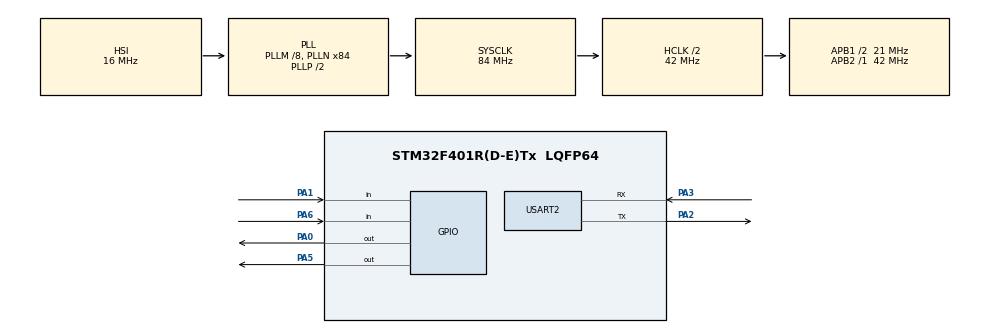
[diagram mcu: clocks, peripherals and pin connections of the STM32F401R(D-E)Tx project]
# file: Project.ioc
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Mcu.Family=STM32F4
Mcu.Name=STM32F401R(D-E)Tx
Mcu.Package=LQFP64
NVIC.PriorityGroup=NVIC_PRIORITYGROUP_4
NVIC.TIM3_IRQn=true\:0\:0\:false\:false\:true\:true\:true\:true
NVIC.USART2_IRQn=true\:0\:0\:false\:false\:true\:true\:true\:true
PA0-WKUP.Signal=GPIO_Output
PA1.Signal=GPIO_Input
PA2.Mode=Asynchronous
PA2.Signal=USART2_TX
PA3.Mode=Asynchronous
PA3.Signal=USART2_RX
PA5.Signal=GPIO_Output
PA6.Signal=GPIO_Input
ProjectManager.HeapSize=0x200
ProjectManager.StackSize=0x400
ProjectManager.TargetToolchain=STM32CubeIDE
RCC.48MHZClocksFreq_Value=42000000
RCC.AHBCLKDivider=RCC_SYSCLK_DIV2
RCC.AHBFreq_Value=42000000
RCC.APB1CLKDivider=RCC_HCLK_DIV2
RCC.APB1Freq_Value=21000000
RCC.APB1TimFreq_Value=42000000
RCC.APB2Freq_Value=42000000
RCC.APB2TimFreq_Value=42000000
RCC.CortexFreq_Value=42000000
RCC.HCLKFreq_Value=42000000
RCC.HSE_VALUE=25000000
RCC.HSI_VALUE=16000000
RCC.LSE_VALUE=32768
RCC.PLLM=8
RCC.PLLN=84
RCC.SYSCLKFreq_VALUE=84000000
RCC.SYSCLKSource=RCC_SYSCLKSOURCE_PLLCLK
RCC.VCOOutputFreq_Value=168000000
RTC.Format=RTC_FORMAT_BIN
TIM2.Period=65535
TIM2.Prescaler=41
TIM3.Period=1000
TIM3.Prescaler=42000
USART2.VirtualMode=VM_ASYNC
VP_RTC_VS_RTC_Activate.Mode=RTC_Enabled
VP_RTC_VS_RTC_Calendar.Mode=RTC_Calendar
VP_TIM2_VS_ClockSourceINT.Mode=Internal
VP_TIM3_VS_ClockSourceINT.Mode=Internal
board=custom

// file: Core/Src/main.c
/* USER CODE BEGIN Header */
/**
  ******************************************************************************
  * @file           : main.c
  * @brief          : Main program body
  ******************************************************************************
  * @attention
  *
  * Copyright (c) 2024 STMicroelectronics.
  * All rights reserved.
  *
  * This software is licensed under terms that can be found in the LICENSE file
  * in the root directory of this software component.
  * If no LICENSE file comes with this software, it is provided AS-IS.
  *
  ******************************************************************************
  */
/* USER CODE END Header */
#include "main.h"

/* USER CODE BEGIN Includes */
#include "funcs.h"
#include "hx711.h"
/* USER CODE END Includes */

RTC_HandleTypeDef hrtc;

TIM_HandleTypeDef htim2;
TIM_HandleTypeDef htim3;

UART_HandleTypeDef huart2;

/* USER CODE BEGIN PV */
HX711 hx711;
uint8_t rx_buffer[20];
void HAL_UART_RxCpltCallback(UART_HandleTypeDef *huart){
    UNUSED(huart);
    HAL_UART_Transmit(&huart2, (uint8_t *)rx_buffer, 5, 0xFFFF);
}

void HAL_TIM_PeriodElapsedCallback(TIM_HandleTypeDef *htim){
    send_data_huart(&huart2, &hrtc, &hx711, &htim3, 60);
}
/* USER CODE END PV */

void SystemClock_Config(void);
static void MX_GPIO_Init(void);
static void MX_TIM2_Init(void);
static void MX_RTC_Init(void);
static void MX_TIM3_Init(void);
static void MX_USART2_UART_Init(void);

int main(void)
{

  /* MCU Configuration--------------------------------------------------------*/

  /* Reset of all peripherals, Initializes the Flash interface and the Systick. */
  HAL_Init();

  /* Configure the system clock */
  SystemClock_Config();

  /* Initialize all configured peripherals */
  MX_GPIO_Init();
  MX_TIM2_Init();
  MX_RTC_Init();
  MX_TIM3_Init();
  MX_USART2_UART_Init();
  /* USER CODE BEGIN 2 */
  HAL_TIM_Base_Start(&htim2);
  HAL_TIM_Base_Start(&htim3);
  // timer settings
  RTC_TimeTypeDef sTime = {0};
  RTC_DateTypeDef sDate = {0};
  sTime.Hours = 10;
  sTime.Minutes = 10;
  sTime.Seconds = 10;
  if (HAL_RTC_SetTime(&hrtc, &sTime, RTC_FORMAT_BIN) != HAL_OK) {
      Error_Handler();
  }
  sDate.WeekDay = RTC_WEEKDAY_WEDNESDAY;
  sDate.Month = RTC_MONTH_JANUARY;
  sDate.Date = 0x10;
  sDate.Year = 0x21;

  if (HAL_RTC_SetDate(&hrtc, &sDate, RTC_FORMAT_BCD) != HAL_OK) {
      Error_Handler();
  }

  // load cell init
  HX711_Init(&hx711, GPIOA, GPIO_PIN_6, GPIOA, GPIO_PIN_5);
  //HX711_Tare(&hx711, 10);
  //int32_t rawValueWithKnownWeight = HX711_Read(&hx711);
  //double knownWeight = 0.6;
  //hx711.scaleFactor = (rawValueWithKnownWeight - hx711.zeroOffset) / knownWeight;
    hx711.scaleFactor = 10000;
    hx711.zeroOffset = 8300000;
  HAL_UART_Transmit(&huart2, rx_buffer, sizeof(rx_buffer), HAL_MAX_DELAY);
  /* USER CODE END 2 */

  /* Infinite loop */
  /* USER CODE BEGIN WHILE */
  while (1)
  {
      menu(&huart2);
      send_data_huart(&huart2, &hrtc, &hx711, &htim3, 60);
    /* USER CODE END WHILE */

  }
}

void SystemClock_Config(void)
{
  RCC_OscInitTypeDef RCC_OscInitStruct = {0};
  RCC_ClkInitTypeDef RCC_ClkInitStruct = {0};

  /** Configure the main internal regulator output voltage
  */
  __HAL_RCC_PWR_CLK_ENABLE();
  __HAL_PWR_VOLTAGESCALING_CONFIG(PWR_REGULATOR_VOLTAGE_SCALE2);

  /** Initializes the RCC Oscillators according to the specified parameters
  * in the RCC_OscInitTypeDef structure.
  */
  RCC_OscInitStruct.OscillatorType = RCC_OSCILLATORTYPE_HSI|RCC_OSCILLATORTYPE_LSI;
  RCC_OscInitStruct.HSIState = RCC_HSI_ON;
  RCC_OscInitStruct.HSICalibrationValue = RCC_HSICALIBRATION_DEFAULT;
  RCC_OscInitStruct.LSIState = RCC_LSI_ON;
  RCC_OscInitStruct.PLL.PLLState = RCC_PLL_ON;
  RCC_OscInitStruct.PLL.PLLSource = RCC_PLLSOURCE_HSI;
  RCC_OscInitStruct.PLL.PLLM = 8;
  RCC_OscInitStruct.PLL.PLLN = 84;
  RCC_OscInitStruct.PLL.PLLP = RCC_PLLP_DIV2;
  RCC_OscInitStruct.PLL.PLLQ = 4;
  if (HAL_RCC_OscConfig(&RCC_OscInitStruct) != HAL_OK)
  {
    Error_Handler();
  }

  /** Initializes the CPU, AHB and APB buses clocks
  */
  RCC_ClkInitStruct.ClockType = RCC_CLOCKTYPE_HCLK|RCC_CLOCKTYPE_SYSCLK
                              |RCC_CLOCKTYPE_PCLK1|RCC_CLOCKTYPE_PCLK2;
  RCC_ClkInitStruct.SYSCLKSource = RCC_SYSCLKSOURCE_PLLCLK;
  RCC_ClkInitStruct.AHBCLKDivider = RCC_SYSCLK_DIV2;
  RCC_ClkInitStruct.APB1CLKDivider = RCC_HCLK_DIV2;
  RCC_ClkInitStruct.APB2CLKDivider = RCC_HCLK_DIV1;

  if (HAL_RCC_ClockConfig(&RCC_ClkInitStruct, FLASH_LATENCY_1) != HAL_OK)
  {
    Error_Handler();
  }
}

static void MX_RTC_Init(void)
{

  RTC_TimeTypeDef sTime = {0};
  RTC_DateTypeDef sDate = {0};

  /** Initialize RTC Only
  */
  hrtc.Instance = RTC;
  hrtc.Init.HourFormat = RTC_HOURFORMAT_24;
  hrtc.Init.AsynchPrediv = 127;
  hrtc.Init.SynchPrediv = 255;
  hrtc.Init.OutPut = RTC_OUTPUT_DISABLE;
  hrtc.Init.OutPutPolarity = RTC_OUTPUT_POLARITY_HIGH;
  hrtc.Init.OutPutType = RTC_OUTPUT_TYPE_OPENDRAIN;
  if (HAL_RTC_Init(&hrtc) != HAL_OK)
  {
    Error_Handler();
  }

  /** Initialize RTC and set the Time and Date
  */
  sTime.Hours = 0;
  sTime.Minutes = 0;
  sTime.Seconds = 0;
  sTime.DayLightSaving = RTC_DAYLIGHTSAVING_NONE;
  sTime.StoreOperation = RTC_STOREOPERATION_RESET;
  if (HAL_RTC_SetTime(&hrtc, &sTime, RTC_FORMAT_BIN) != HAL_OK)
  {
    Error_Handler();
  }
  sDate.WeekDay = RTC_WEEKDAY_MONDAY;
  sDate.Month = RTC_MONTH_JANUARY;
  sDate.Date = 1;
  sDate.Year = 0;

  if (HAL_RTC_SetDate(&hrtc, &sDate, RTC_FORMAT_BIN) != HAL_OK)
  {
    Error_Handler();
  }

}

static void MX_TIM2_Init(void)
{

  TIM_ClockConfigTypeDef sClockSourceConfig = {0};
  TIM_MasterConfigTypeDef sMasterConfig = {0};

  htim2.Instance = TIM2;
  htim2.Init.Prescaler = 41;
  htim2.Init.CounterMode = TIM_COUNTERMODE_UP;
  htim2.Init.Period = 65535;
  htim2.Init.ClockDivision = TIM_CLOCKDIVISION_DIV1;
  htim2.Init.AutoReloadPreload = TIM_AUTORELOAD_PRELOAD_DISABLE;
  if (HAL_TIM_Base_Init(&htim2) != HAL_OK)
  {
    Error_Handler();
  }
  sClockSourceConfig.ClockSource = TIM_CLOCKSOURCE_INTERNAL;
  if (HAL_TIM_ConfigClockSource(&htim2, &sClockSourceConfig) != HAL_OK)
  {
    Error_Handler();
  }
  sMasterConfig.MasterOutputTrigger = TIM_TRGO_RESET;
  sMasterConfig.MasterSlaveMode = TIM_MASTERSLAVEMODE_DISABLE;
  if (HAL_TIMEx_MasterConfigSynchronization(&htim2, &sMasterConfig) != HAL_OK)
  {
    Error_Handler();
  }

}

static void MX_TIM3_Init(void)
{

  TIM_ClockConfigTypeDef sClockSourceConfig = {0};
  TIM_MasterConfigTypeDef sMasterConfig = {0};

  htim3.Instance = TIM3;
  htim3.Init.Prescaler = 42000;
  htim3.Init.CounterMode = TIM_COUNTERMODE_UP;
  htim3.Init.Period = 1000;
  htim3.Init.ClockDivision = TIM_CLOCKDIVISION_DIV1;
  htim3.Init.AutoReloadPreload = TIM_AUTORELOAD_PRELOAD_DISABLE;
  if (HAL_TIM_Base_Init(&htim3) != HAL_OK)
  {
    Error_Handler();
  }
  sClockSourceConfig.ClockSource = TIM_CLOCKSOURCE_INTERNAL;
  if (HAL_TIM_ConfigClockSource(&htim3, &sClockSourceConfig) != HAL_OK)
  {
    Error_Handler();
  }
  sMasterConfig.MasterOutputTrigger = TIM_TRGO_RESET;
  sMasterConfig.MasterSlaveMode = TIM_MASTERSLAVEMODE_DISABLE;
  if (HAL_TIMEx_MasterConfigSynchronization(&htim3, &sMasterConfig) != HAL_OK)
  {
    Error_Handler();
  }

}

static void MX_USART2_UART_Init(void)
{

  huart2.Instance = USART2;
  huart2.Init.BaudRate = 115200;
  huart2.Init.WordLength = UART_WORDLENGTH_8B;
  huart2.Init.StopBits = UART_STOPBITS_1;
  huart2.Init.Parity = UART_PARITY_NONE;
  huart2.Init.Mode = UART_MODE_TX_RX;
  huart2.Init.HwFlowCtl = UART_HWCONTROL_NONE;
  huart2.Init.OverSampling = UART_OVERSAMPLING_16;
  if (HAL_UART_Init(&huart2) != HAL_OK)
  {
    Error_Handler();
  }

}

static void MX_GPIO_Init(void)
{
  GPIO_InitTypeDef GPIO_InitStruct = {0};

  /* GPIO Ports Clock Enable */
  __HAL_RCC_GPIOA_CLK_ENABLE();

  /*Configure GPIO pin Output Level */
  HAL_GPIO_WritePin(GPIOA, GPIO_PIN_0|GPIO_PIN_5, GPIO_PIN_RESET);

  /*Configure GPIO pins : PA0 PA5 */
  GPIO_InitStruct.Pin = GPIO_PIN_0|GPIO_PIN_5;
  GPIO_InitStruct.Mode = GPIO_MODE_OUTPUT_PP;
  GPIO_InitStruct.Pull = GPIO_NOPULL;
  GPIO_InitStruct.Speed = GPIO_SPEED_FREQ_LOW;
  HAL_GPIO_Init(GPIOA, &GPIO_InitStruct);

  /*Configure GPIO pins : PA1 PA6 */
  GPIO_InitStruct.Pin = GPIO_PIN_1|GPIO_PIN_6;
  GPIO_InitStruct.Mode = GPIO_MODE_INPUT;
  GPIO_InitStruct.Pull = GPIO_NOPULL;
  HAL_GPIO_Init(GPIOA, &GPIO_InitStruct);

}

void Error_Handler(void)
{
  __disable_irq();
  while (1)
  {
  }
}
